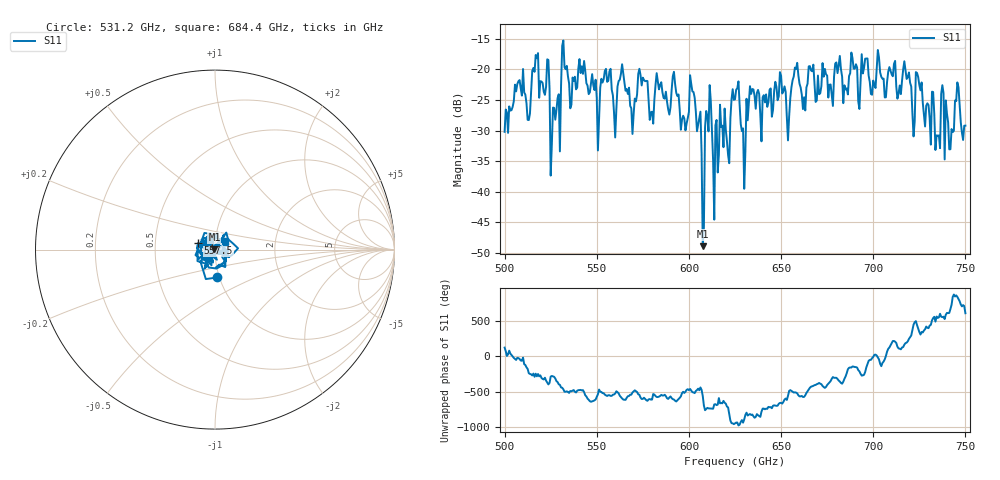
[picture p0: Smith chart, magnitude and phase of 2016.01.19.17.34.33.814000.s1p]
!Created with skrf (http://scikit-rf.org).
# GHz S RI R 50.0
!freq ReS11 ImS11
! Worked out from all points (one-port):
!   401 points, 500 GHz to 750 GHz, reference 50 ohm
!   lowest |S11| = -48.9 dB at 607.5 GHz (marker M1), VSWR 1.01, Z = 49.7 + j0.129 ohm
!   |S11| at or under -10 dB: start of sweep to end of sweep
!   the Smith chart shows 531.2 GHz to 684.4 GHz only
!   S11 on the Smith chart (normalised r, x): 531.2 GHz: 0.98, -0.31; 557.5 GHz: 0.83, +0.06; 684.4 GHz: 1.11, +0.11
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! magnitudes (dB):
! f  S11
! 500 GHz  -30.2
! 506.9 GHz  -22.4
! 513.1 GHz  -28.3
! 516.9 GHz  -17.7
! 523.1 GHz  -18.4
! 526.2 GHz  -26.3
! 531.2 GHz  -16.2
! 557.5 GHz  -19.9
! 562.5 GHz  -21.7
! 569.4 GHz  -30.6
! 573.8 GHz  -21.0
! 579.4 GHz  -27.0
! 593.8 GHz  -24.4
! 596.9 GHz  -27.6
! 601.9 GHz  -23.6
! 607.5 GHz  -48.9
! 610.6 GHz  -30.1
! 614.4 GHz  -29.2
! 625 GHz  -24.9
! 629.4 GHz  -29.6
! 634.4 GHz  -23.2
! 656.2 GHz  -21.8
! 684.4 GHz  -22.6
! 687.5 GHz  -20.6
! 718.8 GHz  -21.3
! 735 GHz  -30.8
! 745.6 GHz  -22.1
! 750 GHz  -29.2
